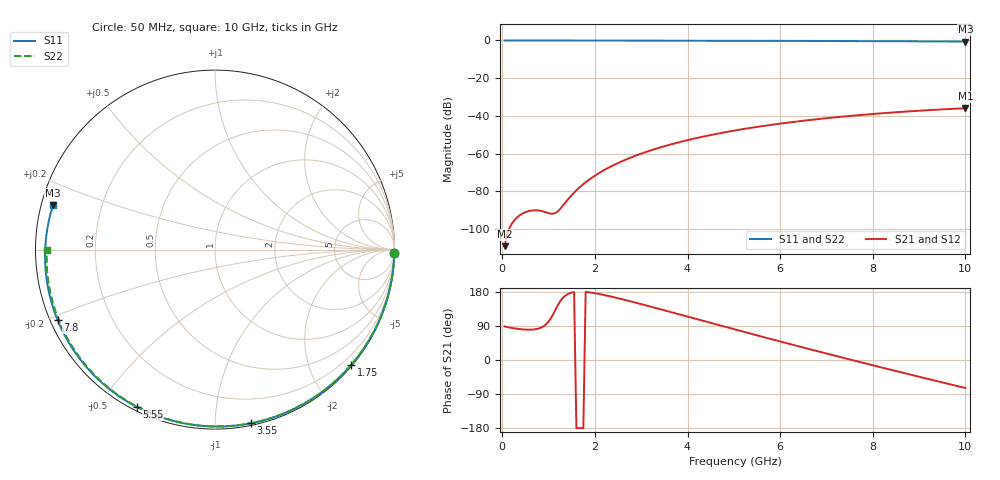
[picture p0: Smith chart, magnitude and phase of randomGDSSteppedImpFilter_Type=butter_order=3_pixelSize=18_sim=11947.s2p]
! freq	dB(S11)	phase(S11)	dB(S12)	phase(S12)
!  dB(S21)	phase(S21)	dB(S22)	phase(S22)
!S-par simulation data
#  GHz  S  DB  R 50
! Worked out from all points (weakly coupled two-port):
!   200 points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, 50 MHz to 10 GHz, reference 50 ohm
!   highest |S21| = -35.98 dB at 10 GHz (marker M1); lowest = -109.1 dB at 50 MHz (marker M2)
!   lowest |S11| = -0.6 dB at 10 GHz (marker M3), VSWR 30.18, Z = 1.69 + j6.73 ohm
!   |S11| at or under -10 dB: nowhere
!   |S22| runs from -0.6 to 0.0 dB; largest |S21 - S12| = 0
!   S11 on the Smith chart (normalised r, x): 50 MHz: open; 1.75 GHz: 0.02, -2.74; 3.55 GHz: 0.01, -1.23; 5.55 GHz: 0.01, -0.62; 7.8 GHz: 0.02, -0.21; 10 GHz: 0.03, +0.13
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0.05  -0.00 -1.1  -109.13 88.5  -109.13 88.5  -0.00 -1.0
0.45  -0.02 -10.5  -91.66 80.7  -91.66 80.7  -0.01 -9.5
0.8  -0.02 -18.6  -90.27 83.7  -90.27 83.7  -0.02 -16.9
1.15  -0.03 -26.6  -91.49 133.2  -91.49 133.2  -0.03 -24.2
1.55  -0.05 -35.7  -80.71 179.3  -80.71 179.3  -0.04 -32.5
1.6  -0.05 -36.8  -79.49 -180.0  -79.49 -180.0  -0.04 -33.5
1.75  -0.05 -40.2  -76.20 -179.9  -76.20 -179.9  -0.05 -36.6
2.05  -0.06 -46.8  -70.94 175.1  -70.94 175.1  -0.05 -42.7
2.45  -0.07 -55.5  -65.59 164.5  -65.59 164.5  -0.06 -50.6
2.9  -0.08 -65.0  -60.93 150.6  -60.93 150.6  -0.08 -59.4
3.4  -0.10 -75.3  -56.82 134.4  -56.82 134.4  -0.09 -68.9
3.55  -0.10 -78.4  -55.75 129.4  -55.75 129.4  -0.10 -71.7
4.3  -0.13 -93.1  -51.19 104.5  -51.19 104.5  -0.12 -85.5
5.05  -0.16 -107.3  -47.64 79.7  -47.64 79.7  -0.15 -98.7
5.55  -0.19 -116.4  -45.67 63.4  -45.67 63.4  -0.17 -107.2
6.1  -0.22 -126.3  -43.80 45.7  -43.80 45.7  -0.20 -116.4
6.7  -0.26 -136.8  -42.03 26.5  -42.03 26.5  -0.24 -126.2
7.25  -0.30 -146.4  -40.63 9.3  -40.63 9.3  -0.28 -135.1
7.8  -0.35 -155.9  -39.41 -7.8  -39.41 -7.8  -0.33 -143.9
8.35  -0.40 -165.5  -38.35 -24.6  -38.35 -24.6  -0.38 -152.7
9.2  -0.49 179.4  -36.98 -50.2  -36.98 -50.2  -0.47 -166.5
10  -0.58 164.7  -35.98 -73.9  -35.98 -73.9  -0.56 -179.8
